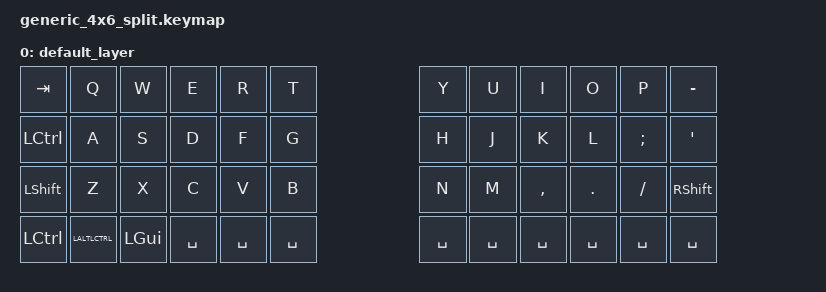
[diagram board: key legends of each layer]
/*
 * Copyright (c) 2020 The ZMK Contributors
 *
 * SPDX-License-Identifier: MIT
 */

#include <behaviors.dtsi>
#include <dt-bindings/zmk/keys.h>
#include <dt-bindings/zmk/bt.h>

/ {
    keymap {
        compatible = "zmk,keymap";

        default_layer {
// ------------------------------------------------------------------------------------------------------------
// |  TAB  |  Q  |  W  |  E   |  R   |  T   |                   |  Y   |  U    |  I    |  O   |   P   |   -   |
// |  CTRL |  A  |  S  |  D   |  F   |  G   |                   |  H   |  J    |  K    |  L   |   ;   |   '   |
// | SHIFT |  Z  |  X  |  C   |  V   |  B   |                   |  N   |  M    |  ,    |  .   |   /   | SHIFT |
//     LC|LA|LG |space------------------------------------
            bindings = <
&kp TAB   &kp Q  &kp W  &kp E  &kp R    &kp T                       &kp Y  &kp U  &kp I     &kp O   &kp P    &kp MINUS
&kp LCTRL &kp A  &kp S  &kp D  &kp F    &kp G                       &kp H  &kp J  &kp K     &kp L   &kp SEMI &kp SQT
&kp LSHFT &kp Z  &kp X  &kp C  &kp V    &kp B                       &kp N  &kp M  &kp COMMA &kp DOT &kp FSLH &kp RSHFT
&kp LCTRL &kp LALTLCTRL &kp LGUI &kp SPACE &kp SPACE &kp SPACE &kp SPACE &kp SPACE &kp SPACE &kp SPACE &kp SPACE &kp SPACE
            >;
        };
    };
};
